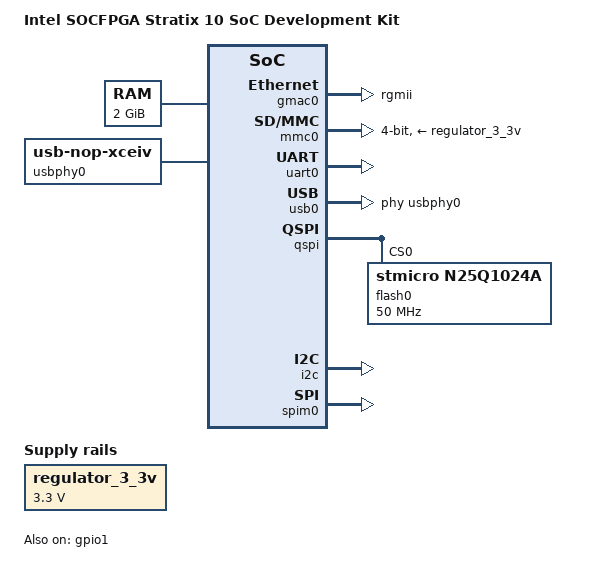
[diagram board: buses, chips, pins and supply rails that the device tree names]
/*
 * Copyright (C) 2016-2017 Intel Corporation <www.intel.com>
 *
 * SPDX-License-Identifier:	GPL-2.0
 */

/dts-v1/;
#include "skeleton.dtsi"
#include <dt-bindings/reset/altr,rst-mgr-s10.h>

/ {
	model = "Intel SOCFPGA Stratix 10 SoC Development Kit";
	compatible = "altr,socfpga-stratix10", "altr,socfpga";

	#address-cells = <2>;
	#size-cells = <1>;

	chosen {
		bootargs = "console=ttyS0,115200";
	};

	aliases {
		ethernet0 = &gmac0;
		spi0 = &qspi;
		i2c0 = &i2c;
		spi1 = &spim0;
		spi2 = &spim1;
	};

	memory {
		name = "memory";
		device_type = "memory";
		reg = <0x0 0x0 0x80000000>; /* 2GB */
	};

	regulator_3_3v: 3-3-v-regulator {
		compatible = "regulator-fixed";
		regulator-name = "3.3V";
		regulator-min-microvolt = <3300000>;
		regulator-max-microvolt = <3300000>;
	};

	soc {
		#address-cells = <2>;
		#size-cells = <1>;
		compatible = "simple-bus";
		device_type = "soc";
		ranges;
		u-boot,dm-pre-reloc;

		rst: rstmgr@ffd11000 {
			#reset-cells = <1>;
			compatible = "altr,rst-mgr";
			reg = <0x0 0xffd11000 0x100>;
			altr,modrst-offset = <0x20>;
		};

		gmac0: ethernet@ff800000 {
			compatible = "altr,socfpga-stmmac", "snps,dwmac-3.74a", "snps,dwmac";
			reg = <0x0 0xff800000 0x2000>;
			interrupts = <0 90 4>;
			interrupt-names = "macirq";
			mac-address = [00 00 00 00 00 00];
			resets = <&rst EMAC0_RESET>;
			reset-names = "stmmaceth";
			phy-mode = "rgmii";
			phy-addr = <0xffffffff>; /* probe for phy addr */
			max-speed = <1000>;
			txd0-skew-ps = <0>; /* -420ps */
			txd1-skew-ps = <0>; /* -420ps */
			txd2-skew-ps = <0>; /* -420ps */
			txd3-skew-ps = <0>; /* -420ps */
			rxd0-skew-ps = <420>; /* 0ps */
			rxd1-skew-ps = <420>; /* 0ps */
			rxd2-skew-ps = <420>; /* 0ps */
			rxd3-skew-ps = <420>; /* 0ps */
			txen-skew-ps = <0>; /* -420ps */
			txc-skew-ps = <1860>; /* 960ps */
			rxdv-skew-ps = <420>; /* 0ps */
			rxc-skew-ps = <1680>; /* 780ps */
			status = "okay";
		};

		mmc0: dwmmc0@0xff808000 {
			compatible = "altr,socfpga-dw-mshc";
			reg = <0x0 0xff808000 0x1000>;
			interrupts = <0 96 4>;
			num-slots = <1>;
			broken-cd;
			bus-width = <4>;
			fifo-depth = <0x400>;
			cap-mmc-highspeed;
			cap-sd-highspeed;
			drvsel = <3>;
			smplsel = <0>;
			status = "okay";
			u-boot,dm-pre-reloc;
			vmmc-supply = <&regulator_3_3v>;
			vqmmc-supply = <&regulator_3_3v>;
		};

		uart0: serial0@ffc02000 {
			compatible = "snps,dw-apb-uart";
			reg = <0x0 0xffc02000 0x1000>;
			interrupts = <0 108 4>;
			reg-shift = <2>;
			reg-io-width = <4>;
			status = "okay";
		};

		usbphy0: usbphy@0 {
			#phy-cells = <0>;
			compatible = "usb-nop-xceiv";
			status = "okay";
		};

		usb0: usb@ffb00000 {
			compatible = "snps,dwc2";
			reg = <0x0 0xffb00000 0xffff>;
			interrupts = <0 93 4>;
			phys = <&usbphy0>;
			phy-names = "usb2-phy";
			status = "okay";
		};

		qspi: spi@ff8d2000 {
			#address-cells = <1>;
			#size-cells = <0>;
			compatible = "cadence,qspi";
			reg = <0x0 0xff8d2000 0x100>,
				<0x0 0xff900000 0x100000>;
			interrupts = <0 98 4>;
			sram-size = <1024>;
			bus-num = <0>;
			spi-max-frequency = <50000000>;
			spi-tx-bus-width = <1>;
			spi-rx-bus-width = <4>;
			status = "okay";
			u-boot,dm-pre-reloc;

			flash0: n25q1024a@0 {
				u-boot,dm-pre-reloc;
				compatible = "stmicro,n25q1024a";
				reg = <0>;      /* chip select */
				spi-max-frequency = <50000000>;
				page-size = <256>;
				block-size = <16>; /* 2^16, 64KB */
				tshsl-ns = <50>;
				tsd2d-ns = <50>;
				tchsh-ns = <4>;
				tslch-ns = <4>;
			};
		};

		i2c: i2c@ffc02900 {
			#address-cells = <1>;
			#size-cells = <0>;
			compatible = "snps,designware-i2c";
			reg = <0x0 0xffc02900 0x100>;
			interrupts = <0 104 0x4>;
			status = "okay";
		};

		gpio0: gpio@ffc03200 {
			#address-cells = <1>;
			#size-cells = <0>;
			compatible = "snps,dw-apb-gpio";
			reg = <0x0 0xffc03200 0x100>;
			status = "disabled";

			porta: gpio-controller@0 {
				compatible = "snps,dw-apb-gpio-port";
				bank-name = "porta";
				gpio-controller;
				#gpio-cells = <2>;
				snps,nr-gpios = <24>;
				reg = <0>;
				interrupt-controller;
				#interrupt-cells = <2>;
				interrupts = <0 110 4>;
			};
		};

		gpio1: gpio@ffc03300 {
			#address-cells = <1>;
			#size-cells = <0>;
			compatible = "snps,dw-apb-gpio";
			reg = <0x0 0xffc03300 0x100>;
			status = "okay";

			portb: gpio-controller@0 {
				compatible = "snps,dw-apb-gpio-port";
				bank-name = "portb";
				gpio-controller;
				#gpio-cells = <2>;
				snps,nr-gpios = <24>;
				reg = <0>;
				interrupt-controller;
				#interrupt-cells = <2>;
				interrupts = <0 111 4>;
			};
		};

		spim0: spi@ffda4000 {
			#address-cells = <1>;
			#size-cells = <0>;
			compatible = "snps,dw-apb-ssi";
			reg = <0x0 0xffda4000 0x1000>;
			interrupts = <0 99 4>;
			num-cs = <1>;
			bus-num = <0>;
			spi-max-frequency = <25000000>;
			status = "okay";
		};

		spim1: spi@ffda5000 {
			#address-cells = <1>;
			#size-cells = <0>;
			compatible = "snps,dw-apb-ssi";
			reg = <0x0 0xffda5000 0x1000>;
			interrupts = <0 100 4>;
			num-cs = <1>;
			bus-num = <0>;
			spi-max-frequency = <25000000>;
			status = "disabled";
		};
	};
};
